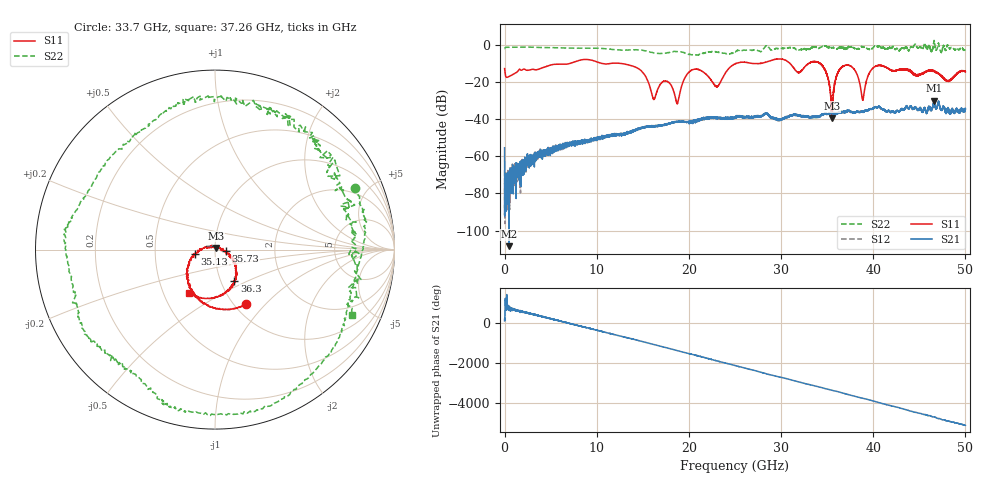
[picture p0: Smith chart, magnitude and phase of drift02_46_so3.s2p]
!Created with skrf (http://scikit-rf.org).
# Hz S RI R 50.0
!freq ReS11 ImS11 ReS21 ImS21 ReS12 ImS12 ReS22 ImS22
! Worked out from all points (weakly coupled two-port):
!   10001 points, 300 kHz to 50 GHz, reference 50 ohm
!   highest |S21| = -30.14 dB at 46.6 GHz (marker M1); lowest = -108.3 dB at 460.3 MHz (marker M2)
!   lowest |S11| = -39.6 dB at 35.54 GHz (marker M3), VSWR 1.02, Z = 50.5 + j0.909 ohm
!   |S11| at or under -10 dB: start of sweep to 7.178 GHz; 12.36 GHz to 25.18 GHz (12.81 GHz wide, 68.3 % of centre); 34.21 GHz to end of sweep (the widest 3 of 18)
!   |S22| runs from -5.7 to 2.2 dB; largest |S21 - S12| = 0.0037
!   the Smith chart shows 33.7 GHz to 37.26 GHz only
!   S11 on the Smith chart (normalised r, x): 33.7 GHz: 1.13, -0.78; 35.13 GHz: 0.80, -0.04; 35.73 GHz: 1.13, -0.02; 36.3 GHz: 1.16, -0.42; 37.26 GHz: 0.67, -0.35
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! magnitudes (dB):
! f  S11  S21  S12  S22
! 300 kHz  -12.9  -55.4  -67.7  -2.1
! 460.3 MHz  -17.2  -108.3  -76.8  -1.5
! 8.335 GHz  -8.2  -52.2  -52.3  -1.9
! 14.03 GHz  -11.8  -46.1  -45.7  -2.8
! 16.15 GHz  -29.2  -44.1  -43.8  -4.4
! 16.67 GHz  -23.3  -43.6  -43.6  -4.7
! 18.74 GHz  -31.7  -41.5  -41.4  -3.7
! 20.24 GHz  -13.9  -41.7  -41.6  -5.4
! 23.04 GHz  -22.6  -39.3  -39.3  -4.1
! 25 GHz  -10.3  -38.8  -39.3  -3.9
! 33.34 GHz  -9.3  -38.7  -38.9  -1.6
! 33.7 GHz  -9.1  -38.7  -38.6  -1.4
! 35.13 GHz  -18.8  -37.4  -37.2  -1.7
! 35.54 GHz  -39.6  -36.7  -36.8  -1.8
! 35.73 GHz  -24.1  -36.8  -36.8  -1.7
! 36.3 GHz  -13.8  -36.6  -36.6  -1.5
! 37.26 GHz  -11.0  -35.8  -35.5  -1.4
! 38.86 GHz  -29.7  -35.9  -36.0  -1.3
! 39.96 GHz  -12.7  -34.4  -34.3  -1.9
! 41.67 GHz  -13.0  -35.3  -35.7  -2.0
! 46.6 GHz  -14.2  -30.1  -30.3  2.0
! 50 GHz  -14.5  -34.7  -34.4  -2.7
